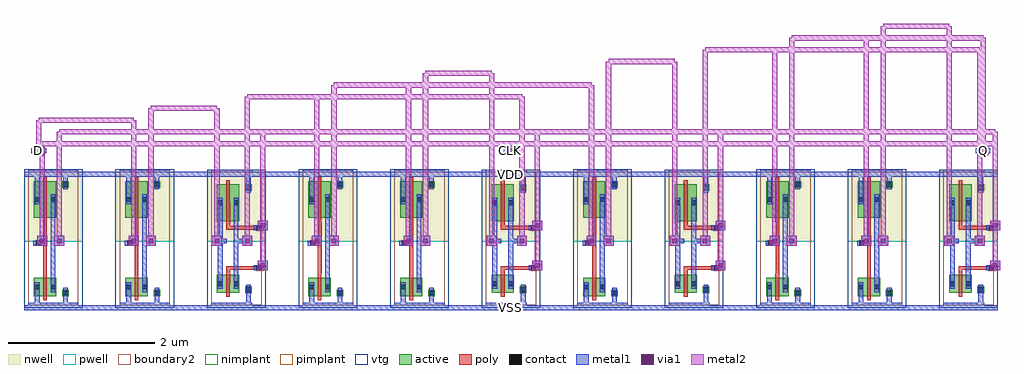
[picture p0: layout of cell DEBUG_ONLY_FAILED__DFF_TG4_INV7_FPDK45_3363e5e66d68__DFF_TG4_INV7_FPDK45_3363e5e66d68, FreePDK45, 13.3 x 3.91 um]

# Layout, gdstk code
import gdstk
lib = gdstk.Library(unit=1e-6, precision=1e-09)
def R(c, l, rs):  # rectangles x0, y0, x1, y1
    for r in rs: c.add(gdstk.rectangle(r[:2], r[2:], *l))
def A(c, l, x, y, w, h, nx, ny, dx, dy):  # array of equal rectangles
    R(c, l, [(x+i*dx, y+j*dy, x+i*dx+w, y+j*dy+h) for i in range(nx) for j in range(ny)])
active = (1, 0)
pwell = (2, 0)
nwell = (3, 0)
nimplant = (4, 0)
pimplant = (5, 0)
vtg = (6, 0)
poly = (9, 0)
contact = (10, 0)
metal1 = (11, 0)
via1 = (12, 0)
metal2 = (13, 0)
boundary2 = (239, 0)

debug_only_failed__dff_t = lib.new_cell('DEBUG_ONLY_FAILED__DFF_TG4_INV7_FPDK45_3363e5e66d68__COMPOSE_CHILD__PINV_NW250_PW500_L50__PINV_NW250_PW500_L50__TRANSMISSION_GATE_NW250_PW500_L50_contact_8')
R(debug_only_failed__dff_t, active, [(0,0.022,0.09,0.112)])
R(debug_only_failed__dff_t, nwell, [(-0.055,-0.033,0.145,0.168)])
R(debug_only_failed__dff_t, pimplant, [(0,0.022,0.09,0.112)])
R(debug_only_failed__dff_t, contact, [(0.013,0.035,0.077,0.1)])
R(debug_only_failed__dff_t, metal1, [(0.013,0,0.077,0.135)])
R(debug_only_failed__dff_t, boundary2, [(-0.055,-0.033,0.145,0.168)])

c_debug_only_failed__dff_t = lib.new_cell('DEBUG_ONLY_FAILED__DFF_TG4_INV7_FPDK45_3363e5e66d68__COMPOSE_CHILD__PINV_NW250_PW500_L50__PINV_NW250_PW500_L50__PINV_NW250_PW500_L50_pmos_m1_w0_500_sm1_dm1_da_p')
R(c_debug_only_failed__dff_t, active, [(0,0,0.305,0.5)])
R(c_debug_only_failed__dff_t, nwell, [(-0.08,-0.08,0.385,0.58)])
R(c_debug_only_failed__dff_t, pimplant, [(0,0,0.305,0.5)])
R(c_debug_only_failed__dff_t, vtg, [(-0.08,-0.08,0.385,0.58)])
R(c_debug_only_failed__dff_t, poly, [(0.127,-0.055,0.177,0.555), (0.127,-0.055,0.177,0.555)])
R(c_debug_only_failed__dff_t, metal1, [(0.013,0.182,0.077,0.317), (0.227,0.182,0.292,0.317)])
R(c_debug_only_failed__dff_t, boundary2, [(-0.08,-0.08,0.385,0.58)])
c_debug_only_failed__dff_t.add(gdstk.Reference(debug_only_failed__dff_t, (0,0.182)))
c_debug_only_failed__dff_t.add(gdstk.Reference(debug_only_failed__dff_t, (0.215,0.182)))

c_debug_only_failed__dff_t_ = lib.new_cell('DEBUG_ONLY_FAILED__DFF_TG4_INV7_FPDK45_3363e5e66d68__COMPOSE_CHILD__PINV_NW250_PW500_L50__PINV_NW250_PW500_L50__TRANSMISSION_GATE_NW250_PW500_L50_contact_7')
R(c_debug_only_failed__dff_t_, active, [(0,0.022,0.09,0.112)])
R(c_debug_only_failed__dff_t_, pwell, [(-0.055,-0.033,0.145,0.168)])
R(c_debug_only_failed__dff_t_, nimplant, [(0,0.022,0.09,0.112)])
R(c_debug_only_failed__dff_t_, contact, [(0.013,0.035,0.077,0.1)])
R(c_debug_only_failed__dff_t_, metal1, [(0.013,0,0.077,0.135)])
R(c_debug_only_failed__dff_t_, boundary2, [(-0.055,-0.033,0.145,0.168)])

c_debug_only_failed__dff_t__ = lib.new_cell('DEBUG_ONLY_FAILED__DFF_TG4_INV7_FPDK45_3363e5e66d68__COMPOSE_CHILD__PINV_NW250_PW500_L50__PINV_NW250_PW500_L50__PINV_NW250_PW500_L50_nmos_m1_w0_250_sm1_dm1_da_p')
R(c_debug_only_failed__dff_t__, active, [(0,0,0.305,0.25)])
R(c_debug_only_failed__dff_t__, pwell, [(-0.08,-0.08,0.385,0.33)])
R(c_debug_only_failed__dff_t__, nimplant, [(0,0,0.305,0.25)])
R(c_debug_only_failed__dff_t__, vtg, [(-0.08,-0.08,0.385,0.33)])
R(c_debug_only_failed__dff_t__, poly, [(0.127,-0.055,0.177,0.305), (0.127,-0.055,0.177,0.305)])
R(c_debug_only_failed__dff_t__, metal1, [(0.013,0.057,0.077,0.192), (0.227,0.057,0.292,0.192)])
R(c_debug_only_failed__dff_t__, boundary2, [(-0.08,-0.08,0.385,0.33)])
c_debug_only_failed__dff_t__.add(gdstk.Reference(c_debug_only_failed__dff_t_, (0,0.057)))
c_debug_only_failed__dff_t__.add(gdstk.Reference(c_debug_only_failed__dff_t_, (0.215,0.057)))

c_debug_only_failed__dff_t___ = lib.new_cell('DEBUG_ONLY_FAILED__DFF_TG4_INV7_FPDK45_3363e5e66d68__COMPOSE_CHILD__PINV_NW250_PW500_L50__PINV_NW250_PW500_L50__TRANSMISSION_GATE_NW250_PW500_L50_contact_9')
R(c_debug_only_failed__dff_t___, active, [(0,0.022,0.09,0.112)])
R(c_debug_only_failed__dff_t___, nwell, [(-0.055,-0.033,0.145,0.168)])
R(c_debug_only_failed__dff_t___, nimplant, [(0,0.022,0.09,0.112)])
R(c_debug_only_failed__dff_t___, contact, [(0.013,0.035,0.077,0.1)])
R(c_debug_only_failed__dff_t___, metal1, [(0.013,0,0.077,0.135)])
R(c_debug_only_failed__dff_t___, boundary2, [(-0.055,-0.033,0.145,0.168)])

c_debug_only_failed__dff_t____ = lib.new_cell('DEBUG_ONLY_FAILED__DFF_TG4_INV7_FPDK45_3363e5e66d68__COMPOSE_CHILD__PINV_NW250_PW500_L50__PINV_NW250_PW500_L50__TRANSMISSION_GATE_NW250_PW500_L50_contact_10')
R(c_debug_only_failed__dff_t____, active, [(0,0.022,0.09,0.112)])
R(c_debug_only_failed__dff_t____, pwell, [(-0.055,-0.033,0.145,0.168)])
R(c_debug_only_failed__dff_t____, pimplant, [(0,0.022,0.09,0.112)])
R(c_debug_only_failed__dff_t____, contact, [(0.013,0.035,0.077,0.1)])
R(c_debug_only_failed__dff_t____, metal1, [(0.013,0,0.077,0.135)])
R(c_debug_only_failed__dff_t____, boundary2, [(-0.055,-0.033,0.145,0.168)])

c_debug_only_failed__dff_t_____ = lib.new_cell('DEBUG_ONLY_FAILED__DFF_TG4_INV7_FPDK45_3363e5e66d68__COMPOSE_CHILD__PINV_NW250_PW500_L50__PINV_NW250_PW500_L50__PINV_NW180_PW270_L50_contact_11')
R(c_debug_only_failed__dff_t_____, poly, [(0.03,0,0.105,0.075)])
R(c_debug_only_failed__dff_t_____, contact, [(0.035,0.005,0.1,0.07)])
R(c_debug_only_failed__dff_t_____, metal1, [(0,0.005,0.135,0.07)])
R(c_debug_only_failed__dff_t_____, boundary2, [(0,0,0.135,0.075)])

c_debug_only_failed__dff_t______ = lib.new_cell('DEBUG_ONLY_FAILED__DFF_TG4_INV7_FPDK45_3363e5e66d68__COMPOSE_CHILD__PINV_NW250_PW500_L50__PINV_NW250_PW500_L50__PINV_NW250_PW500_L50_core')
R(c_debug_only_failed__dff_t______, pwell, [(-0.055,-0.033,0.743,0.873)])
R(c_debug_only_failed__dff_t______, nwell, [(-0.055,0.873,0.743,1.855)])
R(c_debug_only_failed__dff_t______, vtg, [(-0.055,-0.033,0.743,0.873), (-0.055,0.873,0.743,1.855)])
R(c_debug_only_failed__dff_t______, poly, [(0.208,0.43,0.258,1.14), (0.14,0.81,0.208,0.885)])
R(c_debug_only_failed__dff_t______, metal1, [(0,-0.033,0.687,0.033), (0.092,-0.033,0.157,0.182), (0.478,0,0.542,0.17), (0.307,0.182,0.372,1.512), (0.072,0.815,0.208,0.88), (0.34,0.815,0.405,0.88), (0.092,1.377,0.157,1.852), (0.478,1.65,0.542,1.82), (0,1.787,0.687,1.852)])
R(c_debug_only_failed__dff_t______, boundary2, [(0,0,0.687,1.82), (0,0,0.687,1.82)])
c_debug_only_failed__dff_t______.add(gdstk.Reference(c_debug_only_failed__dff_t, (0.08,1.195)))
c_debug_only_failed__dff_t______.add(gdstk.Reference(c_debug_only_failed__dff_t__, (0.08,0.125)))
c_debug_only_failed__dff_t______.add(gdstk.Reference(c_debug_only_failed__dff_t___, (0.465,1.582)))
c_debug_only_failed__dff_t______.add(gdstk.Reference(c_debug_only_failed__dff_t____, (0.465,0.103)))
c_debug_only_failed__dff_t______.add(gdstk.Reference(c_debug_only_failed__dff_t_____, (0.072,0.81)))

c_debug_only_failed__dff_t_______ = lib.new_cell('DEBUG_ONLY_FAILED__DFF_TG4_INV7_FPDK45_3363e5e66d68__COMPOSE_CHILD__PINV_NW250_PW500_L50__PINV_NW250_PW500_L50__PINV_NW250_PW500_L50')
R(c_debug_only_failed__dff_t_______, metal1, [(0,-0.033,0.687,0.033), (0.072,0.815,0.208,0.88), (0.34,0.815,0.405,0.88), (0,1.787,0.687,1.852)])
R(c_debug_only_failed__dff_t_______, boundary2, [(0,0,0.687,1.82)])
c_debug_only_failed__dff_t_______.add(gdstk.Reference(c_debug_only_failed__dff_t______, (0,0)))

c_debug_only_failed__dff_t________ = lib.new_cell('DEBUG_ONLY_FAILED__DFF_TG4_INV7_FPDK45_3363e5e66d68__COMPOSE_CHILD__TRANSMISSION_GATE_NW250_PW500_L50__TRANSMISSION_GATE_NW250_PW500_L50__TRANSMISSION_GATE_NW250_PW500_L50_contact_8')
R(c_debug_only_failed__dff_t________, active, [(0,0.022,0.09,0.112)])
R(c_debug_only_failed__dff_t________, nwell, [(-0.055,-0.033,0.145,0.168)])
R(c_debug_only_failed__dff_t________, pimplant, [(0,0.022,0.09,0.112)])
R(c_debug_only_failed__dff_t________, contact, [(0.013,0.035,0.077,0.1)])
R(c_debug_only_failed__dff_t________, metal1, [(0.013,0,0.077,0.135)])
R(c_debug_only_failed__dff_t________, boundary2, [(-0.055,-0.033,0.145,0.168)])

c_debug_only_failed__dff_t_________ = lib.new_cell('DEBUG_ONLY_FAILED__DFF_TG4_INV7_FPDK45_3363e5e66d68__COMPOSE_CHILD__TRANSMISSION_GATE_NW250_PW500_L50__TRANSMISSION_GATE_NW250_PW500_L50__TRANSMISSION_GATE_NW250_PW500_L50_pmos_m1_w0_500_sm1_dm1')
R(c_debug_only_failed__dff_t_________, active, [(0,0,0.305,0.5)])
R(c_debug_only_failed__dff_t_________, nwell, [(-0.08,-0.08,0.385,0.58)])
R(c_debug_only_failed__dff_t_________, pimplant, [(0,0,0.305,0.5)])
R(c_debug_only_failed__dff_t_________, vtg, [(-0.08,-0.08,0.385,0.58)])
R(c_debug_only_failed__dff_t_________, poly, [(0.127,-0.055,0.177,0.555), (0.127,-0.055,0.177,0.555)])
R(c_debug_only_failed__dff_t_________, metal1, [(0.013,0.182,0.077,0.317), (0.227,0.182,0.292,0.317)])
R(c_debug_only_failed__dff_t_________, boundary2, [(-0.08,-0.08,0.385,0.58)])
c_debug_only_failed__dff_t_________.add(gdstk.Reference(c_debug_only_failed__dff_t________, (0,0.182)))
c_debug_only_failed__dff_t_________.add(gdstk.Reference(c_debug_only_failed__dff_t________, (0.215,0.182)))

c_debug_only_failed__dff_t__________ = lib.new_cell('DEBUG_ONLY_FAILED__DFF_TG4_INV7_FPDK45_3363e5e66d68__COMPOSE_CHILD__TRANSMISSION_GATE_NW250_PW500_L50__TRANSMISSION_GATE_NW250_PW500_L50__TRANSMISSION_GATE_NW250_PW500_L50_contact_7')
R(c_debug_only_failed__dff_t__________, active, [(0,0.022,0.09,0.112)])
R(c_debug_only_failed__dff_t__________, pwell, [(-0.055,-0.033,0.145,0.168)])
R(c_debug_only_failed__dff_t__________, nimplant, [(0,0.022,0.09,0.112)])
R(c_debug_only_failed__dff_t__________, contact, [(0.013,0.035,0.077,0.1)])
R(c_debug_only_failed__dff_t__________, metal1, [(0.013,0,0.077,0.135)])
R(c_debug_only_failed__dff_t__________, boundary2, [(-0.055,-0.033,0.145,0.168)])

c_debug_only_failed__dff_t___________ = lib.new_cell('DEBUG_ONLY_FAILED__DFF_TG4_INV7_FPDK45_3363e5e66d68__COMPOSE_CHILD__TRANSMISSION_GATE_NW250_PW500_L50__TRANSMISSION_GATE_NW250_PW500_L50__TRANSMISSION_GATE_NW250_PW500_L50_nmos_m1_w0_250_sm1_dm1')
R(c_debug_only_failed__dff_t___________, active, [(0,0,0.305,0.25)])
R(c_debug_only_failed__dff_t___________, pwell, [(-0.08,-0.08,0.385,0.33)])
R(c_debug_only_failed__dff_t___________, nimplant, [(0,0,0.305,0.25)])
R(c_debug_only_failed__dff_t___________, vtg, [(-0.08,-0.08,0.385,0.33)])
R(c_debug_only_failed__dff_t___________, poly, [(0.127,-0.055,0.177,0.305), (0.127,-0.055,0.177,0.305)])
R(c_debug_only_failed__dff_t___________, metal1, [(0.013,0.057,0.077,0.192), (0.227,0.057,0.292,0.192)])
R(c_debug_only_failed__dff_t___________, boundary2, [(-0.08,-0.08,0.385,0.33)])
c_debug_only_failed__dff_t___________.add(gdstk.Reference(c_debug_only_failed__dff_t__________, (0,0.057)))
c_debug_only_failed__dff_t___________.add(gdstk.Reference(c_debug_only_failed__dff_t__________, (0.215,0.057)))

c_debug_only_failed__dff_t____________ = lib.new_cell('DEBUG_ONLY_FAILED__DFF_TG4_INV7_FPDK45_3363e5e66d68__COMPOSE_CHILD__TRANSMISSION_GATE_NW250_PW500_L50__TRANSMISSION_GATE_NW250_PW500_L50__TRANSMISSION_GATE_NW250_PW500_L50_contact_9')
R(c_debug_only_failed__dff_t____________, active, [(0,0.022,0.09,0.112)])
R(c_debug_only_failed__dff_t____________, nwell, [(-0.055,-0.033,0.145,0.168)])
R(c_debug_only_failed__dff_t____________, nimplant, [(0,0.022,0.09,0.112)])
R(c_debug_only_failed__dff_t____________, contact, [(0.013,0.035,0.077,0.1)])
R(c_debug_only_failed__dff_t____________, metal1, [(0.013,0,0.077,0.135)])
R(c_debug_only_failed__dff_t____________, boundary2, [(-0.055,-0.033,0.145,0.168)])

c_debug_only_failed__dff_t_____________ = lib.new_cell('DEBUG_ONLY_FAILED__DFF_TG4_INV7_FPDK45_3363e5e66d68__COMPOSE_CHILD__TRANSMISSION_GATE_NW250_PW500_L50__TRANSMISSION_GATE_NW250_PW500_L50__TRANSMISSION_GATE_NW250_PW500_L50_contact_10')
R(c_debug_only_failed__dff_t_____________, active, [(0,0.022,0.09,0.112)])
R(c_debug_only_failed__dff_t_____________, pwell, [(-0.055,-0.033,0.145,0.168)])
R(c_debug_only_failed__dff_t_____________, pimplant, [(0,0.022,0.09,0.112)])
R(c_debug_only_failed__dff_t_____________, contact, [(0.013,0.035,0.077,0.1)])
R(c_debug_only_failed__dff_t_____________, metal1, [(0.013,0,0.077,0.135)])
R(c_debug_only_failed__dff_t_____________, boundary2, [(-0.055,-0.033,0.145,0.168)])

c_debug_only_failed__dff_t______________ = lib.new_cell('DEBUG_ONLY_FAILED__DFF_TG4_INV7_FPDK45_3363e5e66d68__COMPOSE_CHILD__TRANSMISSION_GATE_NW250_PW500_L50__TRANSMISSION_GATE_NW250_PW500_L50__TRANSMISSION_GATE_NW250_PW500_L50_contact_11')
R(c_debug_only_failed__dff_t______________, poly, [(0.03,0,0.105,0.075)])
R(c_debug_only_failed__dff_t______________, contact, [(0.035,0.005,0.1,0.07)])
R(c_debug_only_failed__dff_t______________, metal1, [(0,0.005,0.135,0.07)])
R(c_debug_only_failed__dff_t______________, boundary2, [(0,0,0.135,0.075)])

c_debug_only_failed__dff_t_______________ = lib.new_cell('DEBUG_ONLY_FAILED__DFF_TG4_INV7_FPDK45_3363e5e66d68__COMPOSE_CHILD__TRANSMISSION_GATE_NW250_PW500_L50__TRANSMISSION_GATE_NW250_PW500_L50__TRANSMISSION_GATE_NW250_PW500_L50_core')
R(c_debug_only_failed__dff_t_______________, pwell, [(-0.055,-0.033,0.743,0.873)])
R(c_debug_only_failed__dff_t_______________, nwell, [(-0.055,0.873,0.743,1.852)])
R(c_debug_only_failed__dff_t_______________, vtg, [(-0.055,-0.033,0.743,0.873), (-0.055,0.873,0.743,1.852)])
R(c_debug_only_failed__dff_t_______________, poly, [(0.208,0.295,0.258,0.512), (0.208,0.487,0.258,0.537), (0.232,0.487,0.65,0.537), (0.208,1.032,0.258,1.083), (0.232,1.032,0.65,1.083), (0.208,1.058,0.258,1.4)])
R(c_debug_only_failed__dff_t_______________, metal1, [(0,-0.033,0.56,0.033), (0.478,0,0.542,0.215), (0.092,0.227,0.157,1.467), (0.307,0.227,0.372,1.467), (0.583,0.48,0.718,0.545), (0.583,1.025,0.718,1.09), (0.478,1.605,0.542,1.82), (0,1.787,0.56,1.852)])
R(c_debug_only_failed__dff_t_______________, boundary2, [(0,0,0.687,1.82), (0,0,0.687,1.82)])
c_debug_only_failed__dff_t_______________.add(gdstk.Reference(c_debug_only_failed__dff_t_________, (0.08,1.15)))
c_debug_only_failed__dff_t_______________.add(gdstk.Reference(c_debug_only_failed__dff_t___________, (0.08,0.17)))
c_debug_only_failed__dff_t_______________.add(gdstk.Reference(c_debug_only_failed__dff_t____________, (0.465,1.538)))
c_debug_only_failed__dff_t_______________.add(gdstk.Reference(c_debug_only_failed__dff_t_____________, (0.465,0.147)))
c_debug_only_failed__dff_t_______________.add(gdstk.Reference(c_debug_only_failed__dff_t______________, (0.583,1.02)))
c_debug_only_failed__dff_t_______________.add(gdstk.Reference(c_debug_only_failed__dff_t______________, (0.583,0.475)))

c_debug_only_failed__dff_t________________ = lib.new_cell('DEBUG_ONLY_FAILED__DFF_TG4_INV7_FPDK45_3363e5e66d68__COMPOSE_CHILD__TRANSMISSION_GATE_NW250_PW500_L50__TRANSMISSION_GATE_NW250_PW500_L50__TRANSMISSION_GATE_NW250_PW500_L50')
R(c_debug_only_failed__dff_t________________, metal1, [(0,-0.033,0.56,0.033), (0.092,0.227,0.157,1.467), (0.307,0.227,0.372,1.467), (0.583,0.48,0.718,0.545), (0.583,1.025,0.718,1.09), (0,1.787,0.56,1.852)])
R(c_debug_only_failed__dff_t________________, boundary2, [(0,0,0.687,1.82)])
c_debug_only_failed__dff_t________________.add(gdstk.Reference(c_debug_only_failed__dff_t_______________, (0,0)))

c_debug_only_failed__dff_t_________________ = lib.new_cell('DEBUG_ONLY_FAILED__DFF_TG4_INV7_FPDK45_3363e5e66d68__DFF_TG4_INV7_FPDK45_3363e5e66d68')
A(c_debug_only_failed__dff_t_________________, metal1, 4.54, -0.033, 0.45, 0.066, 4, 1, 2.495, 0)
A(c_debug_only_failed__dff_t_________________, metal1, 4.54, 1.787, 0.45, 0.065, 4, 1, 2.495, 0)
A(c_debug_only_failed__dff_t_________________, metal1, 0.133, 2.073, 0.135, 0.134, 3, 1, 6.436, 0)
A(c_debug_only_failed__dff_t_________________, metal1, 0.1, 2.107, 0.2, 0.065, 3, 1, 6.436, 0)
R(c_debug_only_failed__dff_t_________________, metal1, [(0,-0.033,13.273,0.033), (0.797,-0.033,1.248,0.033), (2.045,-0.033,2.495,0.033), (3.292,-0.033,3.742,0.033), (5.788,-0.033,6.237,0.033), (8.283,-0.033,8.732,0.033), (10.777,-0.033,11.228,0.033), (3.187,0.51,3.323,0.645), (6.93,0.51,7.065,0.645), (9.425,0.51,9.56,0.645), (13.167,0.51,13.302,0.645), (0.182,0.845,0.317,0.98), (0.415,0.845,0.55,0.98), (1.43,0.845,1.565,0.98), (1.663,0.845,1.798,0.98), (2.562,0.845,2.698,0.98), (2.977,0.845,3.113,0.98), (3.925,0.845,4.06,0.98), (4.157,0.845,4.293,0.98), (5.173,0.845,5.307,0.98), (5.405,0.845,5.54,0.98), (6.305,0.845,6.44,0.98), (6.72,0.845,6.855,0.98), (7.668,0.845,7.802,0.98), (7.9,0.845,8.035,0.98), (8.8,0.845,8.935,0.98), (9.215,0.845,9.35,0.98), (10.162,0.845,10.297,0.98), (10.395,0.845,10.53,0.98), (11.41,0.845,11.545,0.98), (11.642,0.845,11.777,0.98), (12.542,0.845,12.677,0.98), (12.957,0.845,13.093,0.98), (2.63,0.88,2.763,0.945), (2.912,0.88,3.045,0.945), (6.373,0.88,6.505,0.945), (6.655,0.88,6.788,0.945), (8.867,0.88,9,0.945), (9.15,0.88,9.283,0.945), (12.61,0.88,12.742,0.945), (12.892,0.88,13.025,0.945), (3.187,1.055,3.323,1.19), (6.93,1.055,7.065,1.19), (9.425,1.055,9.56,1.19), (13.167,1.055,13.302,1.19), (0,1.787,13.273,1.852), (0.797,1.787,1.248,1.852), (2.045,1.787,2.495,1.852), (3.292,1.787,3.742,1.852), (5.788,1.787,6.237,1.852), (8.283,1.787,8.732,1.852), (10.777,1.787,11.228,1.852)])
R(c_debug_only_failed__dff_t_________________, via1, [(3.223,0.545,3.287,0.61), (6.965,0.545,7.03,0.61), (9.46,0.545,9.525,0.61), (13.202,0.545,13.267,0.61), (0.217,0.88,0.283,0.945), (0.45,0.88,0.515,0.945), (1.465,0.88,1.53,0.945), (1.697,0.88,1.762,0.945), (2.598,0.88,2.663,0.945), (3.013,0.88,3.078,0.945), (3.96,0.88,4.025,0.945), (4.192,0.88,4.258,0.945), (5.208,0.88,5.272,0.945), (5.44,0.88,5.505,0.945), (6.34,0.88,6.405,0.945), (6.755,0.88,6.82,0.945), (7.703,0.88,7.767,0.945), (7.935,0.88,8,0.945), (8.835,0.88,8.9,0.945), (9.25,0.88,9.315,0.945), (10.197,0.88,10.263,0.945), (10.43,0.88,10.495,0.945), (11.445,0.88,11.51,0.945), (11.677,0.88,11.742,0.945), (12.578,0.88,12.642,0.945), (12.992,0.88,13.058,0.945), (3.223,1.09,3.287,1.155), (6.965,1.09,7.03,1.155), (9.46,1.09,9.525,1.155), (13.202,1.09,13.267,1.155), (0.168,2.107,0.232,2.172), (6.604,2.107,6.668,2.172), (13.04,2.107,13.105,2.172)])
A(c_debug_only_failed__dff_t_________________, metal2, 0.133, 2.073, 0.135, 0.134, 3, 1, 6.436, 0)
R(c_debug_only_failed__dff_t_________________, metal2, [(3.187,0.51,3.323,0.645), (6.93,0.51,7.065,0.645), (9.425,0.51,9.56,0.645), (13.167,0.51,13.302,0.645), (3.22,0.645,3.29,2.397), (6.963,0.645,7.032,2.238), (9.457,0.645,9.527,2.238), (13.2,0.645,13.27,2.397), (0.182,0.845,0.317,0.98), (0.415,0.845,0.55,0.98), (1.43,0.845,1.565,0.98), (1.663,0.845,1.798,0.98), (2.562,0.845,2.698,0.98), (2.977,0.845,3.113,0.98), (3.925,0.845,4.06,0.98), (4.157,0.845,4.293,0.98), (5.173,0.845,5.307,0.98), (5.405,0.845,5.54,0.98), (6.305,0.845,6.44,0.98), (6.72,0.845,6.855,0.98), (7.668,0.845,7.802,0.98), (7.9,0.845,8.035,0.98), (8.8,0.845,8.935,0.98), (9.215,0.845,9.35,0.98), (10.162,0.845,10.297,0.98), (10.395,0.845,10.53,0.98), (11.41,0.845,11.545,0.98), (11.642,0.845,11.777,0.98), (12.542,0.845,12.677,0.98), (12.957,0.845,13.093,0.98), (0.215,0.98,0.285,2.238), (0.447,0.98,0.517,2.397), (1.463,0.98,1.532,2.558), (1.695,0.98,1.765,2.718), (2.595,0.98,2.665,2.718), (3.01,0.98,3.08,2.877), (3.957,0.98,4.027,2.877), (4.19,0.98,4.26,3.037), (5.205,0.98,5.275,3.037), (5.437,0.98,5.508,3.198), (6.338,0.98,6.407,3.198), (6.753,0.98,6.822,2.877), (7.7,0.98,7.77,3.037), (7.932,0.98,8.002,3.357), (8.832,0.98,8.902,3.357), (9.248,0.98,9.318,3.517), (10.195,0.98,10.265,3.517), (10.427,0.98,10.498,3.678), (11.443,0.98,11.513,3.678), (11.675,0.98,11.745,3.837), (12.575,0.98,12.645,3.837), (12.99,0.98,13.06,3.517), (3.187,1.055,3.323,1.19), (6.93,1.055,7.065,1.19), (9.425,1.055,9.56,1.19), (13.167,1.055,13.302,1.19), (3.22,1.19,3.29,2.238), (6.963,1.19,7.032,2.397), (9.457,1.19,9.527,2.397), (13.2,1.19,13.27,2.238), (0.25,2.203,13.235,2.272), (0.165,2.207,0.235,2.558), (6.601,2.207,6.671,2.238), (13.037,2.207,13.107,3.678), (0.482,2.363,13.235,2.433), (0.2,2.522,1.497,2.593), (1.73,2.683,2.63,2.752), (3.045,2.843,6.788,2.912), (4.225,3.002,7.735,3.073), (5.472,3.162,6.373,3.232), (7.967,3.323,8.867,3.392), (9.283,3.482,13.025,3.553), (10.463,3.642,13.072,3.712), (11.71,3.803,12.61,3.872)])
c_debug_only_failed__dff_t_________________.add(gdstk.Reference(c_debug_only_failed__dff_t_______, (0.055,0.033)))
c_debug_only_failed__dff_t_________________.add(gdstk.Reference(c_debug_only_failed__dff_t_______, (1.302,0.033)))
c_debug_only_failed__dff_t_________________.add(gdstk.Reference(c_debug_only_failed__dff_t________________, (2.55,0.033)))
c_debug_only_failed__dff_t_________________.add(gdstk.Reference(c_debug_only_failed__dff_t_______, (3.797,0.033)))
c_debug_only_failed__dff_t_________________.add(gdstk.Reference(c_debug_only_failed__dff_t_______, (5.045,0.033)))
c_debug_only_failed__dff_t_________________.add(gdstk.Reference(c_debug_only_failed__dff_t________________, (6.293,0.033)))
c_debug_only_failed__dff_t_________________.add(gdstk.Reference(c_debug_only_failed__dff_t_______, (7.54,0.033)))
c_debug_only_failed__dff_t_________________.add(gdstk.Reference(c_debug_only_failed__dff_t________________, (8.787,0.033)))
c_debug_only_failed__dff_t_________________.add(gdstk.Reference(c_debug_only_failed__dff_t_______, (10.035,0.033)))
c_debug_only_failed__dff_t_________________.add(gdstk.Reference(c_debug_only_failed__dff_t_______, (11.283,0.033)))
c_debug_only_failed__dff_t_________________.add(gdstk.Reference(c_debug_only_failed__dff_t________________, (12.53,0.033)))
c_debug_only_failed__dff_t_________________.add(gdstk.Label('D', (0.2,2.14), layer=11, texttype=0))
c_debug_only_failed__dff_t_________________.add(gdstk.Label('CLK', (6.636,2.14), layer=11, texttype=0))
c_debug_only_failed__dff_t_________________.add(gdstk.Label('Q', (13.072,2.14), layer=11, texttype=0))
c_debug_only_failed__dff_t_________________.add(gdstk.Label('VDD', (6.636,1.82), layer=11, texttype=0))
c_debug_only_failed__dff_t_________________.add(gdstk.Label('VSS', (6.636,0), layer=11, texttype=0))

lib.write_gds('DEBUG_ONLY_FAILED__DFF_TG4_INV7_FPDK45_3363e5e66d68__DFF_TG4_INV7_FPDK45_3363e5e66d68.gds')
